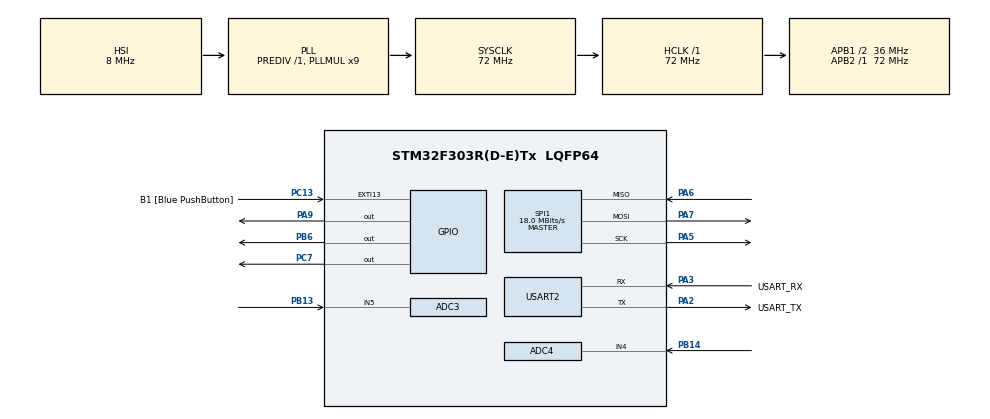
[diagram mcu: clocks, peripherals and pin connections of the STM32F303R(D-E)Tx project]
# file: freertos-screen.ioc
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ADC3.Channel-1\#ChannelRegularConversion=ADC_CHANNEL_5
ADC3.NbrOfConversionFlag=1
ADC3.Offset-1\#ChannelRegularConversion=0
ADC3.OffsetNumber-1\#ChannelRegularConversion=ADC_OFFSET_NONE
ADC3.Rank-1\#ChannelRegularConversion=1
ADC3.SamplingTime-1\#ChannelRegularConversion=ADC_SAMPLETIME_1CYCLE_5
ADC3.SamplingTimeOPAMP-1\#ChannelRegularConversion=ADC_SAMPLETIME_61CYCLES_5
ADC3.master=1
ADC4.Channel-0\#ChannelRegularConversion=ADC_CHANNEL_4
ADC4.NbrOfConversionFlag=1
ADC4.Offset-0\#ChannelRegularConversion=0
ADC4.OffsetNumber-0\#ChannelRegularConversion=ADC_OFFSET_NONE
ADC4.Rank-0\#ChannelRegularConversion=1
ADC4.SamplingTime-0\#ChannelRegularConversion=ADC_SAMPLETIME_1CYCLE_5
ADC4.SamplingTimeOPAMP-0\#ChannelRegularConversion=ADC_SAMPLETIME_61CYCLES_5
Dma.Request0=SPI1_TX
Dma.SPI1_TX.0.Direction=DMA_MEMORY_TO_PERIPH
Dma.SPI1_TX.0.Instance=DMA1_Channel3
Dma.SPI1_TX.0.MemDataAlignment=DMA_MDATAALIGN_BYTE
Dma.SPI1_TX.0.MemInc=DMA_MINC_ENABLE
Dma.SPI1_TX.0.Mode=DMA_NORMAL
Dma.SPI1_TX.0.PeriphDataAlignment=DMA_PDATAALIGN_BYTE
Dma.SPI1_TX.0.PeriphInc=DMA_PINC_DISABLE
Dma.SPI1_TX.0.Priority=DMA_PRIORITY_LOW
FREERTOS.Mutexes01=displayMutex,Dynamic,NULL,Available
FREERTOS.Queues01=inputQueue,16,joystick_input_t,0,Dynamic,NULL,NULL
FREERTOS.Tasks01=statsTask,48,128,StartStatsTask,Default,NULL,Dynamic,NULL,NULL;renderTask,8,128,StartRenderTask,Default,NULL,Dynamic,NULL,NULL;inputTask,40,128,StartInputTask,Default,NULL,Dynamic,NULL,NULL
FREERTOS.configUSE_IDLE_HOOK=1
FREERTOS.configUSE_NEWLIB_REENTRANT=1
Mcu.Family=STM32F3
Mcu.Name=STM32F303R(D-E)Tx
Mcu.Package=LQFP64
NVIC.DMA1_Channel3_IRQn=true\:5\:0\:false\:false\:true\:true\:false\:true\:true
NVIC.PriorityGroup=NVIC_PRIORITYGROUP_4
NVIC.SPI1_IRQn=true\:5\:0\:false\:false\:true\:true\:true\:true\:true
NVIC.TIM6_DAC_IRQn=true\:15\:0\:false\:false\:true\:false\:false\:true\:true
NVIC.TimeBase=TIM6_DAC_IRQn
NVIC.TimeBaseIP=TIM6
PA13.GPIO_Label=TMS
PA13.Signal=SYS_JTMS-SWDIO
PA14.GPIO_Label=TCK
PA14.Signal=SYS_JTCK-SWCLK
PA2.GPIO_Label=USART_TX
PA2.GPIO_Mode=GPIO_MODE_AF_PP
PA2.GPIO_PuPd=GPIO_NOPULL
PA2.GPIO_Speed=GPIO_SPEED_FREQ_LOW
PA2.Mode=Asynchronous
PA2.Signal=USART2_TX
PA3.GPIO_Label=USART_RX
PA3.GPIO_Mode=GPIO_MODE_AF_PP
PA3.GPIO_PuPd=GPIO_NOPULL
PA3.GPIO_Speed=GPIO_SPEED_FREQ_LOW
PA3.Mode=Asynchronous
PA3.Signal=USART2_RX
PA5.Mode=Full_Duplex_Master
PA5.Signal=SPI1_SCK
PA6.Mode=Full_Duplex_Master
PA6.Signal=SPI1_MISO
PA7.Mode=Full_Duplex_Master
PA7.Signal=SPI1_MOSI
PA9.Signal=GPIO_Output
PB13.Mode=IN5-Single-Ended
PB13.Signal=ADC3_IN5
PB14.Mode=IN4-Single-Ended
PB14.Signal=ADC4_IN4
PB3.GPIO_Label=SWO
PB3.Signal=SYS_JTDO-TRACESWO
PB6.Signal=GPIO_Output
PC13.GPIO_Label=B1 [Blue PushButton]
PC13.GPIO_ModeDefaultEXTI=GPIO_MODE_IT_FALLING
PC13.Signal=GPXTI13
PC14-OSC32_IN.Signal=RCC_OSC32_IN
PC15-OSC32_OUT.Signal=RCC_OSC32_OUT
PC7.Signal=GPIO_Output
PF0-OSC_IN.Signal=RCC_OSC_IN
PF1-OSC_OUT.Signal=RCC_OSC_OUT
ProjectManager.HeapSize=0x200
ProjectManager.StackSize=0x400
ProjectManager.TargetToolchain=CMake
RCC.AHBFreq_Value=72000000
RCC.APB1CLKDivider=RCC_HCLK_DIV2
RCC.APB1Freq_Value=36000000
RCC.APB1TimFreq_Value=72000000
RCC.APB2Freq_Value=72000000
RCC.APB2TimFreq_Value=72000000
RCC.CortexFreq_Value=72000000
RCC.HCLKFreq_Value=72000000
RCC.HSE_VALUE=8000000
RCC.HSI_VALUE=8000000
RCC.LSE_VALUE=32768
RCC.PLLM=8
RCC.PLLMUL=RCC_PLL_MUL9
RCC.PLLN=336
RCC.PLLP=RCC_PLLP_DIV4
RCC.PLLQ=7
RCC.RCC_PLLsource_Clock_Source_FROM_HSE=RCC_HSE_PREDIV_DIV2
RCC.SYSCLKFreq_VALUE=72000000
RCC.SYSCLKSourceVirtual=RCC_SYSCLKSOURCE_PLLCLK
RCC.USBFreq_Value=72000000
SPI1.BaudRatePrescaler=SPI_BAUDRATEPRESCALER_4
SPI1.CalculateBaudRate=18.0 MBits/s
SPI1.DataSize=SPI_DATASIZE_8BIT
SPI1.Direction=SPI_DIRECTION_2LINES
SPI1.Mode=SPI_MODE_MASTER
SPI1.VirtualType=VM_MASTER
USART2.VirtualMode-Asynchronous=VM_ASYNC
VP_FREERTOS_VS_CMSIS_V2.Mode=CMSIS_V2
VP_SYS_VS_tim6.Mode=TIM6
board=NUCLEO-F303RE

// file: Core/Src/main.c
/* USER CODE BEGIN Header */
/**
  ******************************************************************************
  * @file           : main.c
  * @brief          : Main program body
  ******************************************************************************
  * @attention
  *
  * Copyright (c) 2026 STMicroelectronics.
  * All rights reserved.
  *
  * This software is licensed under terms that can be found in the LICENSE file
  * in the root directory of this software component.
  * If no LICENSE file comes with this software, it is provided AS-IS.
  *
  ******************************************************************************
  */
/* USER CODE END Header */
#include "main.h"
#include "cmsis_os.h"

/* USER CODE BEGIN Includes */
#include "stdio.h"
#include <math.h>
#include "display_hal/display_hal.h"
#include "display_hal/ili9341spi_driver.h"
#include "FreeRTOS.h"

/* USER CODE END Includes */

/* USER CODE BEGIN PD */
#define ANALOG_DEADZONE 512

/* USER CODE END PD */

ADC_HandleTypeDef hadc3;
ADC_HandleTypeDef hadc4;

SPI_HandleTypeDef hspi1;
DMA_HandleTypeDef hdma_spi1_tx;

UART_HandleTypeDef huart2;

/* Definitions for statsTask */
osThreadId_t statsTaskHandle;
const osThreadAttr_t statsTask_attributes = {
  .name = "statsTask",
  .stack_size = 128 * 4,
  .priority = (osPriority_t) osPriorityRealtime,
};
/* Definitions for renderTask */
osThreadId_t renderTaskHandle;
const osThreadAttr_t renderTask_attributes = {
  .name = "renderTask",
  .stack_size = 128 * 4,
  .priority = (osPriority_t) osPriorityLow,
};
/* Definitions for inputTask */
osThreadId_t inputTaskHandle;
const osThreadAttr_t inputTask_attributes = {
  .name = "inputTask",
  .stack_size = 128 * 4,
  .priority = (osPriority_t) osPriorityHigh,
};
/* Definitions for inputQueue */
osMessageQueueId_t inputQueueHandle;
const osMessageQueueAttr_t inputQueue_attributes = {
  .name = "inputQueue"
};
/* Definitions for displayMutex */
osMutexId_t displayMutexHandle;
const osMutexAttr_t displayMutex_attributes = {
  .name = "displayMutex"
};
/* USER CODE BEGIN PV */

typedef struct {
    int16_t x;
    int16_t y;
} joystick_input_t;

dh_display_driver_t driver;
/* USER CODE END PV */

void SystemClock_Config(void);
static void MX_GPIO_Init(void);
static void MX_DMA_Init(void);
static void MX_ADC3_Init(void);
static void MX_ADC4_Init(void);
static void MX_SPI1_Init(void);
static void MX_USART2_UART_Init(void);
void StartStatsTask(void *argument);
void StartRenderTask(void *argument);
void StartInputTask(void *argument);

/* USER CODE BEGIN PFP */
void ProcessJoystick(int16_t rawX, int16_t rawY, joystick_input_t *out);

/* USER CODE END PFP */

/* USER CODE BEGIN 0 */
int __io_putchar(int ch)
{
    HAL_UART_Transmit(&huart2, (uint8_t *)&ch, 1, HAL_MAX_DELAY);
    return ch;
}

void ProcessJoystick(int16_t rawX, int16_t rawY, joystick_input_t *out)
{
    rawX = rawX - 2048;
    rawY = rawY - 2048;

    int32_t radiusSq = rawX * rawX + rawY * rawY;
    int32_t deadzoneSq = ANALOG_DEADZONE * ANALOG_DEADZONE;

    if (radiusSq < deadzoneSq)
    {
	out->x = 0;
	out->y = 0;
	return;
    }

    float radius = sqrtf(radiusSq);
    float scale = (radius - ANALOG_DEADZONE) / (2048 - ANALOG_DEADZONE);

    out->x = (int16_t)((float)rawX / radius * scale * 64.0f);
    out->y = (int16_t)((float)rawY / radius * scale * 64.0f);
}

/* USER CODE END 0 */

int main(void)
{

  /* MCU Configuration--------------------------------------------------------*/

  /* Reset of all peripherals, Initializes the Flash interface and the Systick. */
  HAL_Init();

  /* Configure the system clock */
  SystemClock_Config();

  /* Initialize all configured peripherals */
  MX_GPIO_Init();
  MX_DMA_Init();
  MX_ADC3_Init();
  MX_ADC4_Init();
  MX_SPI1_Init();
  MX_USART2_UART_Init();
  /* USER CODE BEGIN 2 */

    HAL_NVIC_SetPriority(DMA1_Channel3_IRQn, 2, 0);

  dh_ili9341spi_display_init(&driver,
      &hspi1,
      GPIOA, GPIO_PIN_9,
      GPIOB, GPIO_PIN_6,
      GPIOC, GPIO_PIN_7
  );

  dh_fill_screen(&driver, DH_BLACK);

  /* USER CODE END 2 */

  /* Init scheduler */
  osKernelInitialize();
  /* Create the mutex(es) */
  /* creation of displayMutex */
  displayMutexHandle = osMutexNew(&displayMutex_attributes);

  /* Create the queue(s) */
  /* creation of inputQueue */
  inputQueueHandle = osMessageQueueNew (16, sizeof(joystick_input_t), &inputQueue_attributes);

  /* Create the thread(s) */
  /* creation of statsTask */
  statsTaskHandle = osThreadNew(StartStatsTask, NULL, &statsTask_attributes);

  /* creation of renderTask */
  renderTaskHandle = osThreadNew(StartRenderTask, NULL, &renderTask_attributes);

  /* creation of inputTask */
  inputTaskHandle = osThreadNew(StartInputTask, NULL, &inputTask_attributes);

  /* Start scheduler */
  osKernelStart();

  /* We should never get here as control is now taken by the scheduler */

  /* Infinite loop */
  while (1)
  {

  }
}

void SystemClock_Config(void)
{
  RCC_OscInitTypeDef RCC_OscInitStruct = {0};
  RCC_ClkInitTypeDef RCC_ClkInitStruct = {0};
  RCC_PeriphCLKInitTypeDef PeriphClkInit = {0};

  /** Initializes the RCC Oscillators according to the specified parameters
  * in the RCC_OscInitTypeDef structure.
  */
  RCC_OscInitStruct.OscillatorType = RCC_OSCILLATORTYPE_HSI;
  RCC_OscInitStruct.HSIState = RCC_HSI_ON;
  RCC_OscInitStruct.HSICalibrationValue = RCC_HSICALIBRATION_DEFAULT;
  RCC_OscInitStruct.PLL.PLLState = RCC_PLL_ON;
  RCC_OscInitStruct.PLL.PLLSource = RCC_PLLSOURCE_HSI;
  RCC_OscInitStruct.PLL.PLLMUL = RCC_PLL_MUL9;
  RCC_OscInitStruct.PLL.PREDIV = RCC_PREDIV_DIV1;
  if (HAL_RCC_OscConfig(&RCC_OscInitStruct) != HAL_OK)
  {
    Error_Handler();
  }

  /** Initializes the CPU, AHB and APB buses clocks
  */
  RCC_ClkInitStruct.ClockType = RCC_CLOCKTYPE_HCLK|RCC_CLOCKTYPE_SYSCLK
                              |RCC_CLOCKTYPE_PCLK1|RCC_CLOCKTYPE_PCLK2;
  RCC_ClkInitStruct.SYSCLKSource = RCC_SYSCLKSOURCE_PLLCLK;
  RCC_ClkInitStruct.AHBCLKDivider = RCC_SYSCLK_DIV1;
  RCC_ClkInitStruct.APB1CLKDivider = RCC_HCLK_DIV2;
  RCC_ClkInitStruct.APB2CLKDivider = RCC_HCLK_DIV1;

  if (HAL_RCC_ClockConfig(&RCC_ClkInitStruct, FLASH_LATENCY_2) != HAL_OK)
  {
    Error_Handler();
  }
  PeriphClkInit.PeriphClockSelection = RCC_PERIPHCLK_USART2|RCC_PERIPHCLK_ADC34;
  PeriphClkInit.Usart2ClockSelection = RCC_USART2CLKSOURCE_PCLK1;
  PeriphClkInit.Adc34ClockSelection = RCC_ADC34PLLCLK_DIV1;
  if (HAL_RCCEx_PeriphCLKConfig(&PeriphClkInit) != HAL_OK)
  {
    Error_Handler();
  }
}

static void MX_ADC3_Init(void)
{

  ADC_MultiModeTypeDef multimode = {0};
  ADC_ChannelConfTypeDef sConfig = {0};

  /** Common config
  */
  hadc3.Instance = ADC3;
  hadc3.Init.ClockPrescaler = ADC_CLOCK_ASYNC_DIV1;
  hadc3.Init.Resolution = ADC_RESOLUTION_12B;
  hadc3.Init.ScanConvMode = ADC_SCAN_DISABLE;
  hadc3.Init.ContinuousConvMode = DISABLE;
  hadc3.Init.DiscontinuousConvMode = DISABLE;
  hadc3.Init.ExternalTrigConvEdge = ADC_EXTERNALTRIGCONVEDGE_NONE;
  hadc3.Init.ExternalTrigConv = ADC_SOFTWARE_START;
  hadc3.Init.DataAlign = ADC_DATAALIGN_RIGHT;
  hadc3.Init.NbrOfConversion = 1;
  hadc3.Init.DMAContinuousRequests = DISABLE;
  hadc3.Init.EOCSelection = ADC_EOC_SINGLE_CONV;
  hadc3.Init.LowPowerAutoWait = DISABLE;
  hadc3.Init.Overrun = ADC_OVR_DATA_OVERWRITTEN;
  if (HAL_ADC_Init(&hadc3) != HAL_OK)
  {
    Error_Handler();
  }

  /** Configure the ADC multi-mode
  */
  multimode.Mode = ADC_MODE_INDEPENDENT;
  if (HAL_ADCEx_MultiModeConfigChannel(&hadc3, &multimode) != HAL_OK)
  {
    Error_Handler();
  }

  /** Configure Regular Channel
  */
  sConfig.Channel = ADC_CHANNEL_5;
  sConfig.Rank = ADC_REGULAR_RANK_1;
  sConfig.SingleDiff = ADC_SINGLE_ENDED;
  sConfig.SamplingTime = ADC_SAMPLETIME_1CYCLE_5;
  sConfig.OffsetNumber = ADC_OFFSET_NONE;
  sConfig.Offset = 0;
  if (HAL_ADC_ConfigChannel(&hadc3, &sConfig) != HAL_OK)
  {
    Error_Handler();
  }

}

static void MX_ADC4_Init(void)
{

  ADC_ChannelConfTypeDef sConfig = {0};

  /** Common config
  */
  hadc4.Instance = ADC4;
  hadc4.Init.ClockPrescaler = ADC_CLOCK_ASYNC_DIV1;
  hadc4.Init.Resolution = ADC_RESOLUTION_12B;
  hadc4.Init.ScanConvMode = ADC_SCAN_DISABLE;
  hadc4.Init.ContinuousConvMode = DISABLE;
  hadc4.Init.DiscontinuousConvMode = DISABLE;
  hadc4.Init.ExternalTrigConvEdge = ADC_EXTERNALTRIGCONVEDGE_NONE;
  hadc4.Init.ExternalTrigConv = ADC_SOFTWARE_START;
  hadc4.Init.DataAlign = ADC_DATAALIGN_RIGHT;
  hadc4.Init.NbrOfConversion = 1;
  hadc4.Init.DMAContinuousRequests = DISABLE;
  hadc4.Init.EOCSelection = ADC_EOC_SINGLE_CONV;
  hadc4.Init.LowPowerAutoWait = DISABLE;
  hadc4.Init.Overrun = ADC_OVR_DATA_OVERWRITTEN;
  if (HAL_ADC_Init(&hadc4) != HAL_OK)
  {
    Error_Handler();
  }

  /** Configure Regular Channel
  */
  sConfig.Channel = ADC_CHANNEL_4;
  sConfig.Rank = ADC_REGULAR_RANK_1;
  sConfig.SingleDiff = ADC_SINGLE_ENDED;
  sConfig.SamplingTime = ADC_SAMPLETIME_1CYCLE_5;
  sConfig.OffsetNumber = ADC_OFFSET_NONE;
  sConfig.Offset = 0;
  if (HAL_ADC_ConfigChannel(&hadc4, &sConfig) != HAL_OK)
  {
    Error_Handler();
  }

}

static void MX_SPI1_Init(void)
{

  /* SPI1 parameter configuration*/
  hspi1.Instance = SPI1;
  hspi1.Init.Mode = SPI_MODE_MASTER;
  hspi1.Init.Direction = SPI_DIRECTION_2LINES;
  hspi1.Init.DataSize = SPI_DATASIZE_8BIT;
  hspi1.Init.CLKPolarity = SPI_POLARITY_LOW;
  hspi1.Init.CLKPhase = SPI_PHASE_1EDGE;
  hspi1.Init.NSS = SPI_NSS_SOFT;
  hspi1.Init.BaudRatePrescaler = SPI_BAUDRATEPRESCALER_4;
  hspi1.Init.FirstBit = SPI_FIRSTBIT_MSB;
  hspi1.Init.TIMode = SPI_TIMODE_DISABLE;
  hspi1.Init.CRCCalculation = SPI_CRCCALCULATION_DISABLE;
  hspi1.Init.CRCPolynomial = 7;
  hspi1.Init.CRCLength = SPI_CRC_LENGTH_DATASIZE;
  hspi1.Init.NSSPMode = SPI_NSS_PULSE_ENABLE;
  if (HAL_SPI_Init(&hspi1) != HAL_OK)
  {
    Error_Handler();
  }

}

static void MX_USART2_UART_Init(void)
{

  huart2.Instance = USART2;
  huart2.Init.BaudRate = 38400;
  huart2.Init.WordLength = UART_WORDLENGTH_8B;
  huart2.Init.StopBits = UART_STOPBITS_1;
  huart2.Init.Parity = UART_PARITY_NONE;
  huart2.Init.Mode = UART_MODE_TX_RX;
  huart2.Init.HwFlowCtl = UART_HWCONTROL_NONE;
  huart2.Init.OverSampling = UART_OVERSAMPLING_16;
  huart2.Init.OneBitSampling = UART_ONE_BIT_SAMPLE_DISABLE;
  huart2.AdvancedInit.AdvFeatureInit = UART_ADVFEATURE_NO_INIT;
  if (HAL_UART_Init(&huart2) != HAL_OK)
  {
    Error_Handler();
  }

}

static void MX_DMA_Init(void)
{

  /* DMA controller clock enable */
  __HAL_RCC_DMA1_CLK_ENABLE();

  /* DMA interrupt init */
  /* DMA1_Channel3_IRQn interrupt configuration */
  HAL_NVIC_SetPriority(DMA1_Channel3_IRQn, 5, 0);
  HAL_NVIC_EnableIRQ(DMA1_Channel3_IRQn);

}

static void MX_GPIO_Init(void)
{
  GPIO_InitTypeDef GPIO_InitStruct = {0};

  /* GPIO Ports Clock Enable */
  __HAL_RCC_GPIOC_CLK_ENABLE();
  __HAL_RCC_GPIOF_CLK_ENABLE();
  __HAL_RCC_GPIOA_CLK_ENABLE();
  __HAL_RCC_GPIOB_CLK_ENABLE();

  /*Configure GPIO pin Output Level */
  HAL_GPIO_WritePin(GPIOC, GPIO_PIN_7, GPIO_PIN_RESET);

  /*Configure GPIO pin Output Level */
  HAL_GPIO_WritePin(GPIOA, GPIO_PIN_9, GPIO_PIN_RESET);

  /*Configure GPIO pin Output Level */
  HAL_GPIO_WritePin(GPIOB, GPIO_PIN_6, GPIO_PIN_RESET);

  /*Configure GPIO pin : B1_Pin */
  GPIO_InitStruct.Pin = B1_Pin;
  GPIO_InitStruct.Mode = GPIO_MODE_IT_FALLING;
  GPIO_InitStruct.Pull = GPIO_NOPULL;
  HAL_GPIO_Init(B1_GPIO_Port, &GPIO_InitStruct);

  /*Configure GPIO pin : PC7 */
  GPIO_InitStruct.Pin = GPIO_PIN_7;
  GPIO_InitStruct.Mode = GPIO_MODE_OUTPUT_PP;
  GPIO_InitStruct.Pull = GPIO_NOPULL;
  GPIO_InitStruct.Speed = GPIO_SPEED_FREQ_LOW;
  HAL_GPIO_Init(GPIOC, &GPIO_InitStruct);

  /*Configure GPIO pin : PA9 */
  GPIO_InitStruct.Pin = GPIO_PIN_9;
  GPIO_InitStruct.Mode = GPIO_MODE_OUTPUT_PP;
  GPIO_InitStruct.Pull = GPIO_NOPULL;
  GPIO_InitStruct.Speed = GPIO_SPEED_FREQ_LOW;
  HAL_GPIO_Init(GPIOA, &GPIO_InitStruct);

  /*Configure GPIO pin : PB6 */
  GPIO_InitStruct.Pin = GPIO_PIN_6;
  GPIO_InitStruct.Mode = GPIO_MODE_OUTPUT_PP;
  GPIO_InitStruct.Pull = GPIO_NOPULL;
  GPIO_InitStruct.Speed = GPIO_SPEED_FREQ_LOW;
  HAL_GPIO_Init(GPIOB, &GPIO_InitStruct);

}

void StartStatsTask(void *argument)
{
  /* USER CODE BEGIN 5 */
  /* Infinite loop */
  char str[32];
  text_attr_t attr = {
      .bg_color = DH_BLACK,
      .fg_color = DH_WHITE,
      .font = &dh_font_7x10,
      .origin_x = 1,
      .origin_y = 1
  };

  for(;;)
  {
    size_t heapFree = xPortGetFreeHeapSize();
    size_t heapMinFree = xPortGetMinimumEverFreeHeapSize();
    snprintf(str, 32, "Heap: %uB free (min: %uB)", heapFree, heapMinFree);
    osMutexAcquire(displayMutexHandle, osWaitForever);
    dh_draw_string(&driver, attr, str);
    osMutexRelease(displayMutexHandle);
    osDelay(1000);
  }
  /* USER CODE END 5 */
}

/* USER CODE BEGIN Header_StartRenderTask */
/**
* @brief Function implementing the renderTask thread.
* @param argument: Not used
* @retval None
*/
int ballX = 120;
int ballY = 160;
const int ballRadius = 8;
/* USER CODE END Header_StartRenderTask */
void StartRenderTask(void *argument)
{
  /* USER CODE BEGIN StartRenderTask */
  /* Infinite loop */
  joystick_input_t input;
  for(;;)
  {
    if (osMessageQueueGet(inputQueueHandle, &input, 0, osWaitForever) == osOK)
    {
	// printf("x:%d, y:%d\r\n", input.x, input.y);

	osMutexAcquire(displayMutexHandle, osWaitForever);
	dh_fill_circle(&driver, DH_BLACK, ballX, ballY, ballRadius);
	osMutexRelease(displayMutexHandle);

	ballX = 120 + input.x;
	ballY = 160 + input.y;

	if (ballX + ballRadius >= 240)
	{
	    ballX = 240 - ballRadius - 1;
	}

	if (ballX - ballRadius < 0)
	{
	    ballX = ballRadius;
	}

	osMutexAcquire(displayMutexHandle, osWaitForever);
	dh_fill_circle(&driver, DH_RED, ballX, ballY, ballRadius);
	osMutexRelease(displayMutexHandle);
    }
  }
  /* USER CODE END StartRenderTask */
}

void StartInputTask(void *argument)
{
  /* USER CODE BEGIN StartInputTask */
  /* Infinite loop */
    joystick_input_t input;
    joystick_input_t inputOld;
  for(;;)
  {
    HAL_ADC_Start(&hadc3);
    HAL_ADC_PollForConversion(&hadc3, 10);
    int16_t rawX = HAL_ADC_GetValue(&hadc3);
    HAL_ADC_Stop(&hadc3);

    HAL_ADC_Start(&hadc4);
    HAL_ADC_PollForConversion(&hadc4, 10);
    int16_t rawY = HAL_ADC_GetValue(&hadc4);
    HAL_ADC_Stop(&hadc4);

    ProcessJoystick(rawX, rawY, &input);

    int16_t dX = input.x - inputOld.x;
    int16_t dY = input.y - inputOld.y;

    if (dX != 0 || dY != 0)
    {
      osMessageQueuePut(inputQueueHandle, &input, 0, 0);
      inputOld = input;
    }

    osDelay(30);
  }
  /* USER CODE END StartInputTask */
}

void HAL_TIM_PeriodElapsedCallback(TIM_HandleTypeDef *htim)
{
  if (htim->Instance == TIM6)
  {
    HAL_IncTick();
  }
}

void Error_Handler(void)
{
  __disable_irq();
  while (1)
  {
  }
}
